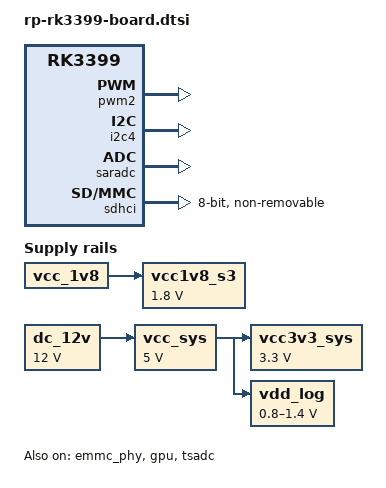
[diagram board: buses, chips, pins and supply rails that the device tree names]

#include "dt-bindings/pwm/pwm.h"
#include "dt-bindings/input/input.h"
#include "../rk3399.dtsi"
#include "../rk3399-opp.dtsi"
#include "../rk3399-linux.dtsi"

#include <dt-bindings/sensor-dev.h>

/ {
    
    chosen {
        stdout-path = "serial2:1500000n8";
    };
    
    dc_12v: dc-12v {
        compatible = "regulator-fixed";
        regulator-name = "dc_12v";
        regulator-always-on;
        regulator-boot-on;
        regulator-min-microvolt = <12000000>;
        regulator-max-microvolt = <12000000>;
    };
    
    vcc1v8_s3: vcca1v8_s3: vcc1v8-s3 {
        compatible = "regulator-fixed";
        regulator-name = "vcc1v8_s3";
        regulator-always-on;
        regulator-boot-on;
        regulator-min-microvolt = <1800000>;
        regulator-max-microvolt = <1800000>;
        vin-supply = <&vcc_1v8>;
    };

    vcc3v0_sd: vcc3v0-sd {
        status = "disabled";
        compatible = "regulator-fixed";
        enable-active-high;
        gpio = <&gpio0 RK_PA1 GPIO_ACTIVE_HIGH>;
        pinctrl-names = "default";
        pinctrl-0 = <&sdmmc0_pwr_h>;
        regulator-always-on;
        regulator-max-microvolt = <3000000>;
        regulator-min-microvolt = <3000000>;
        regulator-name = "vcc3v0_sd";
        vin-supply = <&vcc3v3_sys>;
    };

    vcc3v3_sys: vcc3v3-sys {
        compatible = "regulator-fixed";
        regulator-name = "vcc3v3_sys";
        regulator-always-on;
        regulator-boot-on;
        regulator-min-microvolt = <3300000>;
        regulator-max-microvolt = <3300000>;
        vin-supply = <&vcc_sys>;
    };
    
    vcc_sys: vcc-sys {
        compatible = "regulator-fixed";
        regulator-name = "vcc_sys";
        regulator-always-on;
        regulator-boot-on;
        regulator-min-microvolt = <5000000>;
        regulator-max-microvolt = <5000000>;
        vin-supply = <&dc_12v>;
    };

    vdd_log: vdd-log {
        compatible = "pwm-regulator";
        pwms = <&pwm2 0 25000 1>;
        regulator-name = "vdd_log";
        regulator-always-on;
        regulator-boot-on;
        regulator-min-microvolt = <800000>;
        regulator-init-microvolt = <1050000>;
        regulator-max-microvolt = <1400000>;
		vin-supply = <&vcc_sys>;
    };
    
    spdif-sound {
        status = "disabled";
        compatible = "simple-audio-card";
        simple-audio-card,name = "ROCKCHIP,SPDIF";
        simple-audio-card,cpu {
            sound-dai = <&spdif>;
        };
        simple-audio-card,codec {
            sound-dai = <&spdif_out>;
        };
    };

    spdif_out: spdif-out {
        status = "disabled";
        compatible = "linux,spdif-dit";
        #sound-dai-cells = <0>;
    };

};

&pwm2 {
    status = "okay";
};

&cpu_l0 {
    cpu-supply = <&vdd_cpu_l>;
};

&cpu_l1 {
    cpu-supply = <&vdd_cpu_l>;
};

&cpu_l2 {
    cpu-supply = <&vdd_cpu_l>;
};

&cpu_l3 {
    cpu-supply = <&vdd_cpu_l>;
};

&cpu_b0 {
    cpu-supply = <&vdd_cpu_b>;
};

&cpu_b1 {
    cpu-supply = <&vdd_cpu_b>;
};

&cpu_thermal {
    trips {
        cpu_hot: cpu_hot {
            hysteresis = <10000>;
            temperature = <55000>;
            type = "active";
        };
    };

    cooling-maps {
        map2 {
            //cooling-device =
            //    <&fan0 THERMAL_NO_LIMIT THERMAL_NO_LIMIT>;
            trip = <&cpu_hot>;
        };
    };
};

&emmc_phy {
    status = "okay";
};


&gpu {
    mali-supply = <&vdd_gpu>;
    status = "okay";
};


&dfi {
    status = "disabled";
};

&dmc {
    status = "disabled";
    center-supply = <&vdd_center>;
    upthreshold = <40>;
    downdifferential = <20>;
    system-status-freq = <
        /*system status         freq(KHz)*/
        SYS_STATUS_NORMAL       800000
        SYS_STATUS_REBOOT       528000
        SYS_STATUS_SUSPEND      200000
        SYS_STATUS_VIDEO_1080P  200000
        SYS_STATUS_VIDEO_4K     600000
        SYS_STATUS_VIDEO_4K_10B 800000
        SYS_STATUS_PERFORMANCE  800000
        SYS_STATUS_BOOST        600000
        SYS_STATUS_DUALVIEW     600000
        SYS_STATUS_ISP          600000
    >;
    vop-bw-dmc-freq = <
    /* min_bw(MB/s) max_bw(MB/s) freq(KHz) */
        0       762      200000
        763     1893     400000
        1894    3012     528000
        3013    99999    800000
    >;
    auto-freq-en = <1>;
    auto-min-freq = <200000>;
};

&spdif {
    status = "disabled";
    pinctrl-0 = <&spdif_bus>;
    i2c-scl-rising-time-ns = <450>;
    i2c-scl-falling-time-ns = <15>;
    #sound-dai-cells = <0>;
};

&i2c4 {
    status = "okay";
};


&sdmmc {
    broken-cd;
    bus-width = <4>;
    cap-mmc-highspeed;
    cap-sd-highspeed;
    sd-uhs-sdr104;
    clock-frequency = <150000000>;
    disable-wp;
    max-frequency = <150000000>;
    pinctrl-names = "default";
    pinctrl-0 = <&sdmmc_clk &sdmmc_cmd &sdmmc_cd &sdmmc_bus4>;
    vmmc-supply = <&vcc3v0_sd>;
    vqmmc-supply = <&vcc_sdio>;
    status = "disabled";
};


&saradc {
//    vref-supply = <&vcca1v8_s3>;
    status = "okay";
};

&sdhci {
    bus-width = <8>;
    mmc-hs400-1_8v;
    mmc-hs400-enhanced-strobe;
    non-removable;
    status = "okay";
};


&tsadc {
    /* tshut mode 0:CRU 1:GPIO */
    rockchip,hw-tshut-mode = <1>;
    /* tshut polarity 0:LOW 1:HIGH */
    rockchip,hw-tshut-polarity = <1>;
    status = "okay";
};

&uart4 {
    status = "disabled";
};

&uart3 {
    status = "disabled";
};

&uart2 {
    status = "disabled";
};

&uart1 {
    status = "disabled";
};

&uart0 {
    status = "disabled";
};

&fiq_debugger {
    rockchip,serial-id = <2>;
    rockchip,wake-irq = <0>;
    rockchip,irq-mode-enable = <1>;  /* If enable uart uses irq instead of fiq */
    rockchip,baudrate = <115200>;  /* Only 115200 and 1500000 */
    interrupts = <GIC_SPI 150 IRQ_TYPE_LEVEL_HIGH 0>;
    pinctrl-names = "default";
    pinctrl-0 = <&uart2c_xfer>;
};

&hdmi{
    status = "disabled";
};

&hdmi_sound {
    status = "disabled";
};

&i2s2 {
    status = "disabled";
};

&route_hdmi {
    status = "disabled";
};

&hdmi_in_vopl { 
    status = "disabled";
}; 

&hdmi_in_vopb { 
    status = "disabled"; 
}; 

&rockchip_suspend {
    status = "okay";
    rockchip,sleep-debug-en = <1>;
    rockchip,sleep-mode-config = <
        (0
        | RKPM_SLP_ARMPD
        | RKPM_SLP_PERILPPD
        | RKPM_SLP_DDR_RET
        | RKPM_SLP_PLLPD
        | RKPM_SLP_CENTER_PD
        | RKPM_SLP_AP_PWROFF
        )
        >;
    rockchip,wakeup-config = <
        (0
        | RKPM_GPIO_WKUP_EN
        | RKPM_PWM_WKUP_EN
        )
        >;
        rockchip,pwm-regulator-config = <
        (0
        | PWM2_REGULATOR_EN
        )
        >;
        rockchip,power-ctrl =
        <&gpio1 17 GPIO_ACTIVE_HIGH>,
        <&gpio1 14 GPIO_ACTIVE_HIGH>;
};
